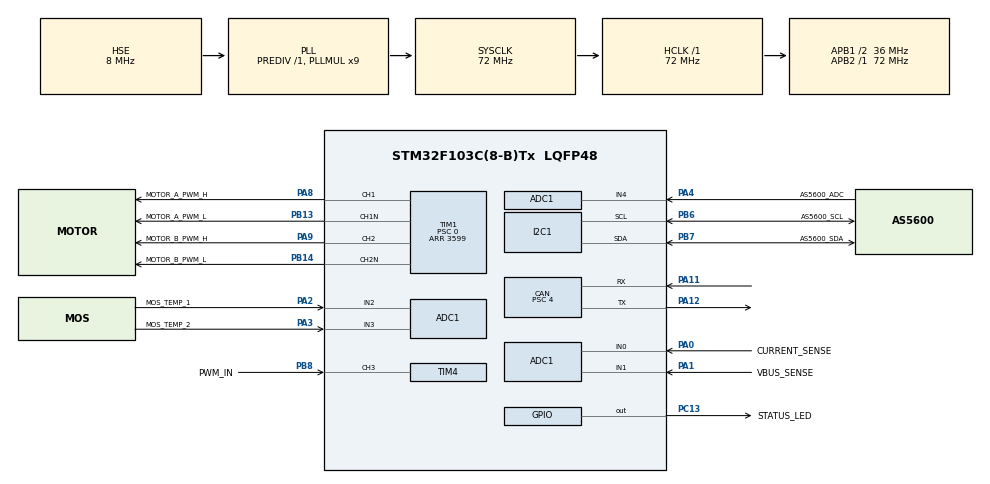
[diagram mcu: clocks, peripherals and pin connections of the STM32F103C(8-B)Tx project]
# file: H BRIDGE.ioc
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ADC1.Channel-0\#ChannelRegularConversion=ADC_CHANNEL_0
ADC1.Channel-1\#ChannelRegularConversion=ADC_CHANNEL_1
ADC1.Channel-2\#ChannelRegularConversion=ADC_CHANNEL_2
ADC1.Channel-3\#ChannelRegularConversion=ADC_CHANNEL_3
ADC1.Channel-4\#ChannelRegularConversion=ADC_CHANNEL_4
ADC1.ContinuousConvMode=ENABLE
ADC1.NbrOfConversion=5
ADC1.NbrOfConversionFlag=1
ADC1.Rank-0\#ChannelRegularConversion=1
ADC1.Rank-1\#ChannelRegularConversion=2
ADC1.Rank-2\#ChannelRegularConversion=3
ADC1.Rank-3\#ChannelRegularConversion=4
ADC1.Rank-4\#ChannelRegularConversion=5
ADC1.SamplingTime-0\#ChannelRegularConversion=ADC_SAMPLETIME_239CYCLES_5
ADC1.SamplingTime-1\#ChannelRegularConversion=ADC_SAMPLETIME_239CYCLES_5
ADC1.SamplingTime-2\#ChannelRegularConversion=ADC_SAMPLETIME_239CYCLES_5
ADC1.SamplingTime-3\#ChannelRegularConversion=ADC_SAMPLETIME_239CYCLES_5
ADC1.SamplingTime-4\#ChannelRegularConversion=ADC_SAMPLETIME_239CYCLES_5
ADC1.master=1
CAN.BS1=CAN_BS1_13TQ
CAN.BS2=CAN_BS2_4TQ
CAN.CalculateBaudRate=500000
CAN.CalculateTimeBit=2000
CAN.CalculateTimeQuantum=111.11111111111111
CAN.Prescaler=4
Dma.ADC1.0.Direction=DMA_PERIPH_TO_MEMORY
Dma.ADC1.0.Instance=DMA1_Channel1
Dma.ADC1.0.MemDataAlignment=DMA_MDATAALIGN_HALFWORD
Dma.ADC1.0.MemInc=DMA_MINC_ENABLE
Dma.ADC1.0.Mode=DMA_CIRCULAR
Dma.ADC1.0.PeriphDataAlignment=DMA_PDATAALIGN_HALFWORD
Dma.ADC1.0.PeriphInc=DMA_PINC_DISABLE
Dma.ADC1.0.Priority=DMA_PRIORITY_LOW
Dma.Request0=ADC1
Mcu.Family=STM32F1
Mcu.Name=STM32F103C(8-B)Tx
Mcu.Package=LQFP48
NVIC.CAN1_RX1_IRQn=true\:0\:0\:false\:false\:true\:true\:true\:true
NVIC.DMA1_Channel1_IRQn=true\:0\:0\:false\:false\:true\:false\:true\:true
NVIC.I2C1_EV_IRQn=true\:0\:0\:false\:false\:true\:true\:true\:true
NVIC.PriorityGroup=NVIC_PRIORITYGROUP_4
NVIC.TIM4_IRQn=true\:0\:0\:false\:false\:true\:true\:true\:true
PA0-WKUP.GPIO_Label=CURRENT_SENSE
PA0-WKUP.Signal=ADCx_IN0
PA1.GPIO_Label=VBUS_SENSE
PA1.Signal=ADCx_IN1
PA11.Mode=CAN_Activate
PA11.Signal=CAN_RX
PA12.Mode=CAN_Activate
PA12.Signal=CAN_TX
PA13.Mode=Serial_Wire
PA13.Signal=SYS_JTMS-SWDIO
PA14.Mode=Serial_Wire
PA14.Signal=SYS_JTCK-SWCLK
PA2.GPIO_Label=MOS_TEMP_1
PA2.Signal=ADCx_IN2
PA3.GPIO_Label=MOS_TEMP_2
PA3.Signal=ADCx_IN3
PA4.GPIO_Label=AS5600_ADC
PA4.Signal=ADCx_IN4
PA8.GPIO_Label=MOTOR_A_PWM_H
PA8.Signal=S_TIM1_CH1
PA9.GPIO_Label=MOTOR_B_PWM_H
PA9.Signal=S_TIM1_CH2
PB13.GPIO_Label=MOTOR_A_PWM_L
PB13.Mode=PWM Generation1 CH1 CH1N
PB13.Signal=TIM1_CH1N
PB14.GPIO_Label=MOTOR_B_PWM_L
PB14.Mode=PWM Generation2 CH2 CH2N
PB14.Signal=TIM1_CH2N
PB6.GPIO_Label=AS5600_SCL
PB6.Mode=I2C
PB6.Signal=I2C1_SCL
PB7.GPIO_Label=AS5600_SDA
PB7.Mode=I2C
PB7.Signal=I2C1_SDA
PB8.GPIO_Label=PWM_IN
PB8.GPIO_PuPd=GPIO_PULLDOWN
PB8.Signal=S_TIM4_CH3
PC13-TAMPER-RTC.GPIO_Label=STATUS_LED
PC13-TAMPER-RTC.Signal=GPIO_Output
PD0-OSC_IN.Mode=HSE-External-Oscillator
PD0-OSC_IN.Signal=RCC_OSC_IN
PD1-OSC_OUT.Mode=HSE-External-Oscillator
PD1-OSC_OUT.Signal=RCC_OSC_OUT
ProjectManager.HeapSize=0x200
ProjectManager.StackSize=0x400
ProjectManager.TargetToolchain=MDK-ARM V5.32
RCC.ADCPresc=RCC_ADCPCLK2_DIV6
RCC.AHBFreq_Value=72000000
RCC.APB1CLKDivider=RCC_HCLK_DIV2
RCC.APB1Freq_Value=36000000
RCC.APB1TimFreq_Value=72000000
RCC.APB2Freq_Value=72000000
RCC.APB2TimFreq_Value=72000000
RCC.HCLKFreq_Value=72000000
RCC.PLLMUL=RCC_PLL_MUL9
RCC.PLLSourceVirtual=RCC_PLLSOURCE_HSE
RCC.SYSCLKFreq_VALUE=72000000
RCC.SYSCLKSource=RCC_SYSCLKSOURCE_PLLCLK
RCC.USBFreq_Value=72000000
SH.ADCx_IN0.0=ADC1_IN0,IN0
SH.ADCx_IN1.0=ADC1_IN1,IN1
SH.ADCx_IN2.0=ADC1_IN2,IN2
SH.ADCx_IN3.0=ADC1_IN3,IN3
SH.ADCx_IN4.0=ADC1_IN4,IN4
SH.S_TIM1_CH1.0=TIM1_CH1,PWM Generation1 CH1 CH1N
SH.S_TIM1_CH2.0=TIM1_CH2,PWM Generation2 CH2 CH2N
SH.S_TIM4_CH3.0=TIM4_CH3,Input_Capture3_from_TI3
TIM1.AutoReloadPreload=TIM_AUTORELOAD_PRELOAD_ENABLE
TIM1.Channel-PWM\ Generation1\ CH1\ CH1N=TIM_CHANNEL_1
TIM1.Channel-PWM\ Generation2\ CH2\ CH2N=TIM_CHANNEL_2
TIM1.DeadTime=36
TIM1.OCPolarity_1=TIM_OCPOLARITY_HIGH
TIM1.Period=3599
TIM1.Prescaler=0
TIM4.AutoReloadPreload=TIM_AUTORELOAD_PRELOAD_ENABLE
TIM4.Channel-Input_Capture3_from_TI3=TIM_CHANNEL_3
TIM4.ICFilter_CH3=8
TIM4.Prescaler=72-1
VP_TIM1_VS_ClockSourceINT.Mode=Internal
VP_TIM4_VS_ClockSourceINT.Mode=Internal
board=custom

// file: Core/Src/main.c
/* USER CODE BEGIN Header */
/**
  ******************************************************************************
  * @file           : main.c
  * @brief          : Main program body
  ******************************************************************************
  * @attention
  *
  * Copyright (c) 2026 STMicroelectronics.
  * All rights reserved.
  *
  * This software is licensed under terms that can be found in the LICENSE file
  * in the root directory of this software component.
  * If no LICENSE file comes with this software, it is provided AS-IS.
  *
  ******************************************************************************
  */
/* USER CODE END Header */
#include "main.h"
#include "adc.h"
#include "can.h"
#include "dma.h"
#include "i2c.h"
#include "tim.h"
#include "gpio.h"

/* USER CODE BEGIN Includes */
#include "servo_app.h"
/* USER CODE END Includes */

void SystemClock_Config(void);

int main(void){

  /* MCU Configuration--------------------------------------------------------*/

  /* Reset of all peripherals, Initializes the Flash interface and the Systick. */
  HAL_Init();

  /* Configure the system clock */
  SystemClock_Config();

  /* Initialize all configured peripherals */
  MX_GPIO_Init();
  MX_DMA_Init();
  MX_ADC1_Init();
  MX_CAN_Init();
  MX_I2C1_Init();
  MX_TIM1_Init();
  MX_TIM4_Init();
  /* USER CODE BEGIN 2 */
  if (!ServoApp_Init(&hadc1,
                     &hi2c1,
                     &hcan,
                     &htim1,
                     &htim4,
                     STATUS_LED_GPIO_Port,
                     STATUS_LED_Pin))
  {
    Error_Handler();
  }
  /* USER CODE END 2 */

  /* Infinite loop */
  /* USER CODE BEGIN WHILE */
  while (1)
  {
    ServoApp_Process();
    /* USER CODE END WHILE */

  }
}

void SystemClock_Config(void)
{
  RCC_OscInitTypeDef RCC_OscInitStruct = {0};
  RCC_ClkInitTypeDef RCC_ClkInitStruct = {0};
  RCC_PeriphCLKInitTypeDef PeriphClkInit = {0};

  /** Initializes the RCC Oscillators according to the specified parameters
  * in the RCC_OscInitTypeDef structure.
  */
  RCC_OscInitStruct.OscillatorType = RCC_OSCILLATORTYPE_HSE;
  RCC_OscInitStruct.HSEState = RCC_HSE_ON;
  RCC_OscInitStruct.HSEPredivValue = RCC_HSE_PREDIV_DIV1;
  RCC_OscInitStruct.HSIState = RCC_HSI_ON;
  RCC_OscInitStruct.PLL.PLLState = RCC_PLL_ON;
  RCC_OscInitStruct.PLL.PLLSource = RCC_PLLSOURCE_HSE;
  RCC_OscInitStruct.PLL.PLLMUL = RCC_PLL_MUL9;
  if (HAL_RCC_OscConfig(&RCC_OscInitStruct) != HAL_OK)
  {
    Error_Handler();
  }

  /** Initializes the CPU, AHB and APB buses clocks
  */
  RCC_ClkInitStruct.ClockType = RCC_CLOCKTYPE_HCLK|RCC_CLOCKTYPE_SYSCLK
                              |RCC_CLOCKTYPE_PCLK1|RCC_CLOCKTYPE_PCLK2;
  RCC_ClkInitStruct.SYSCLKSource = RCC_SYSCLKSOURCE_PLLCLK;
  RCC_ClkInitStruct.AHBCLKDivider = RCC_SYSCLK_DIV1;
  RCC_ClkInitStruct.APB1CLKDivider = RCC_HCLK_DIV2;
  RCC_ClkInitStruct.APB2CLKDivider = RCC_HCLK_DIV1;

  if (HAL_RCC_ClockConfig(&RCC_ClkInitStruct, FLASH_LATENCY_2) != HAL_OK)
  {
    Error_Handler();
  }
  PeriphClkInit.PeriphClockSelection = RCC_PERIPHCLK_ADC;
  PeriphClkInit.AdcClockSelection = RCC_ADCPCLK2_DIV6;
  if (HAL_RCCEx_PeriphCLKConfig(&PeriphClkInit) != HAL_OK)
  {
    Error_Handler();
  }
}

/* USER CODE BEGIN 4 */
void HAL_CAN_RxFifo1MsgPendingCallback(CAN_HandleTypeDef *hcan_ptr)
{
  ServoApp_CAN_RxCallback(hcan_ptr);
}

void HAL_TIM_IC_CaptureCallback(TIM_HandleTypeDef *htim_ptr)
{
  ServoApp_TIM_IC_Callback(htim_ptr);
}
/* USER CODE END 4 */

void Error_Handler(void)
{
  /* USER CODE BEGIN Error_Handler_Debug */
  /* 硬件错误: 立即安全关断电机输出再死循环 */
  ServoApp_EmergencyShutdown();
  __disable_irq();
  while (1)
  {
  }
  /* USER CODE END Error_Handler_Debug */
}
